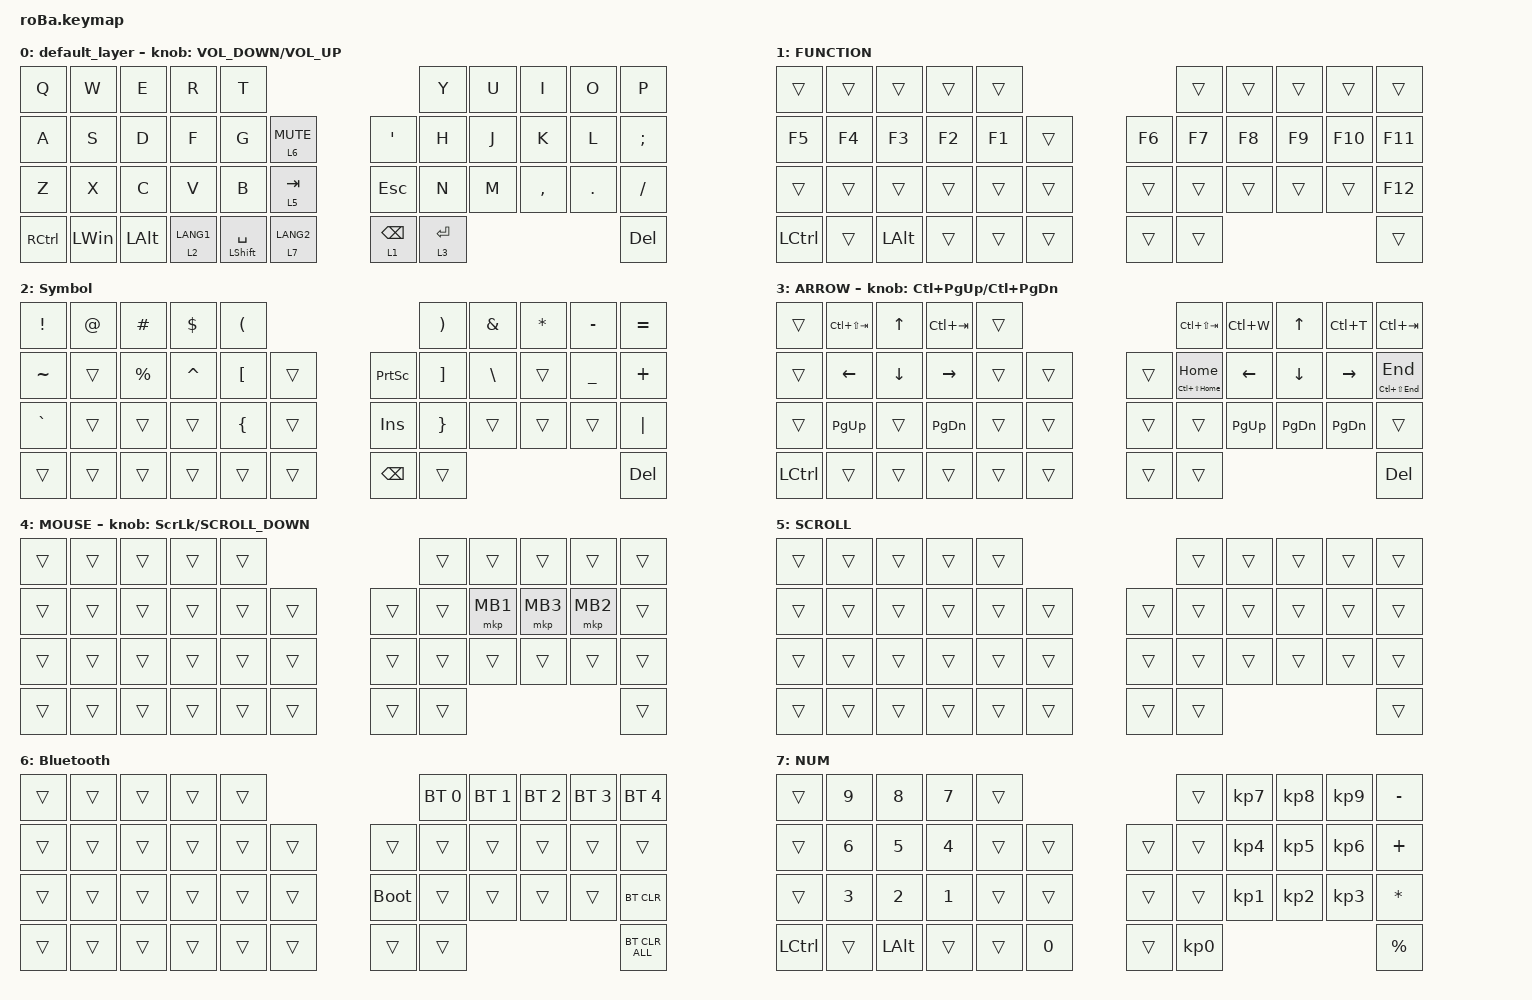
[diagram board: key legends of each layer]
#include <behaviors.dtsi>
#include <dt-bindings/zmk/bt.h>
#include <dt-bindings/zmk/keys.h>
#include <dt-bindings/zmk/pointing.h>

#define MOUSE 4
#define SCROLL 5
#define NUM 6

&mt {
    flavor = "balanced";
    quick-tap-ms = <0>;
};

/ {
    combos {
        compatible = "zmk,combos";

        tab {
            bindings = <&kp TAB>;
            key-positions = <11 12>;
        };

        shift_tab {
            bindings = <&kp LS(TAB)>;
            key-positions = <12 13>;
        };

        muhennkann {
            bindings = <&to_layer_0 INT_MUHENKAN>;
            key-positions = <11 10>;
        };

        double_quotation {
            bindings = <&kp DOUBLE_QUOTES>;
            key-positions = <20 21>;
        };

        eq {
            bindings = <&kp EQUAL>;
            key-positions = <24 25>;
        };
    };

    macros {
        to_layer_0: to_layer_0 {
            compatible = "zmk,behavior-macro-one-param";
            #binding-cells = <1>;
            bindings = <&to 0 &macro_param_1to1 &kp MACRO_PLACEHOLDER>;
            label = "TO_LAYER_0";
        };
    };

    behaviors {
        lt_to_layer_0: lt_to_layer_0 {
            compatible = "zmk,behavior-hold-tap";
            label = "LAYER_TAP_TO_0";
            bindings = <&mo>, <&to_layer_0>;

            #binding-cells = <2>;
            tapping-term-ms = <200>;
        };
    };

    keymap {
        compatible = "zmk,keymap";

        default_layer {
            bindings = <
&kp Q              &kp W         &kp E         &kp R                   &kp T                                                               &kp Y        &kp U  &kp I      &kp O    &kp P
&kp A              &kp S         &kp D         &kp F                   &kp G                 &lt 6 C_MUTE                &kp SINGLE_QUOTE  &kp H        &kp J  &kp K      &kp L    &kp SEMICOLON
&kp Z              &kp X         &kp C         &kp V                   &kp B                 &lt 5 TAB                   &kp ESCAPE        &kp N        &kp M  &kp COMMA  &kp DOT  &kp SLASH
&kp RIGHT_CONTROL  &kp LEFT_WIN  &kp LEFT_ALT  &lt_to_layer_0 2 LANG1  &mt LEFT_SHIFT SPACE  &lt_to_layer_0 7 LANG2      &lt 1 BACKSPACE   &lt 3 ENTER                             &kp DEL
            >;

            sensor-bindings = <&inc_dec_kp C_VOLUME_DOWN C_VOLUME_UP>;
        };

        FUNCTION {
            bindings = <
&trans            &trans  &trans        &trans  &trans                      &trans  &trans  &trans  &trans   &trans
&kp F5            &kp F4  &kp F3        &kp F2  &kp F1  &trans      &kp F6  &kp F7  &kp F8  &kp F9  &kp F10  &kp F11
&trans            &trans  &trans        &trans  &trans  &trans      &trans  &trans  &trans  &trans  &trans   &kp F12
&kp LEFT_CONTROL  &trans  &kp LEFT_ALT  &trans  &trans  &trans      &trans  &trans                           &trans
            >;
        };

        Symbol {
            bindings = <
&kp EXCLAMATION  &kp AT  &kp HASH     &kp DOLLAR  &kp LEFT_PARENTHESIS                               &kp RIGHT_PARENTHESIS  &kp AMPERSAND  &kp ASTERISK  &kp MINUS       &kp EQUAL
&kp TILDE        &trans  &kp PERCENT  &kp CARET   &kp LEFT_BRACKET      &trans      &kp PRINTSCREEN  &kp RIGHT_BRACKET      &kp BSLH       &trans        &kp UNDERSCORE  &kp PLUS
&kp GRAVE        &trans  &trans       &trans      &kp LEFT_BRACE        &trans      &kp INSERT       &kp RIGHT_BRACE        &trans         &trans        &trans          &kp PIPE
&trans           &trans  &trans       &trans      &trans                &trans      &kp BACKSPACE    &trans                                                              &kp DELETE
            >;
        };

        ARROW {
            bindings = <
&trans            &kp LC(LS(TAB))  &kp UP_ARROW    &kp LC(TAB)      &trans                      &kp LC(LS(TAB))        &kp LC(W)       &kp UP_ARROW    &kp LC(T)        &kp LC(TAB)
&trans            &kp LEFT_ARROW   &kp DOWN_ARROW  &kp RIGHT_ARROW  &trans  &trans      &trans  &mt LC(LS(HOME)) HOME  &kp LEFT_ARROW  &kp DOWN_ARROW  &kp RIGHT_ARROW  &mt LC(LS(END)) END
&trans            &kp PAGE_UP      &trans          &kp PAGE_DOWN    &trans  &trans      &trans  &trans                 &kp PAGE_UP     &kp PAGE_DOWN   &kp PAGE_DOWN    &trans
&kp LEFT_CONTROL  &trans           &trans          &trans           &trans  &trans      &trans  &trans                                                                  &kp DELETE
            >;

            sensor-bindings = <&inc_dec_kp LC(PAGE_UP) LC(PAGE_DOWN)>;
        };

        MOUSE {
            bindings = <
&trans  &trans  &trans  &trans  &trans                      &trans  &trans    &trans    &trans    &trans
&trans  &trans  &trans  &trans  &trans  &trans      &trans  &trans  &mkp MB1  &mkp MB3  &mkp MB2  &trans
&trans  &trans  &trans  &trans  &trans  &trans      &trans  &trans  &trans    &trans    &trans    &trans
&trans  &trans  &trans  &trans  &trans  &trans      &trans  &trans                                &trans
            >;

            sensor-bindings = <&inc_dec_kp SCROLLLOCK K_SCROLL_DOWN>;
        };

        SCROLL {
            bindings = <
&trans  &trans  &trans  &trans  &trans                      &trans  &trans  &trans  &trans  &trans
&trans  &trans  &trans  &trans  &trans  &trans      &trans  &trans  &trans  &trans  &trans  &trans
&trans  &trans  &trans  &trans  &trans  &trans      &trans  &trans  &trans  &trans  &trans  &trans
&trans  &trans  &trans  &trans  &trans  &trans      &trans  &trans                          &trans
            >;
        };

        Bluetooth {
            bindings = <
&trans  &trans  &trans  &trans  &trans                           &bt BT_SEL 0  &bt BT_SEL 1  &bt BT_SEL 2  &bt BT_SEL 3  &bt BT_SEL 4
&trans  &trans  &trans  &trans  &trans  &trans      &trans       &trans        &trans        &trans        &trans        &trans
&trans  &trans  &trans  &trans  &trans  &trans      &bootloader  &trans        &trans        &trans        &trans        &bt BT_CLR
&trans  &trans  &trans  &trans  &trans  &trans      &trans       &trans                                                  &bt BT_CLR_ALL
            >;
        };

        NUM {
            bindings = <
&trans            &kp NUMBER_9  &kp NUMBER_8  &kp NUMBER_7  &trans                            &trans           &kp KP_NUMBER_7  &kp KP_NUMBER_8  &kp KP_NUMBER_9  &kp MINUS
&trans            &kp NUMBER_6  &kp NUMBER_5  &kp NUMBER_4  &trans  &trans            &trans  &trans           &kp KP_NUMBER_4  &kp KP_NUMBER_5  &kp KP_NUMBER_6  &kp PLUS
&trans            &kp NUMBER_3  &kp NUMBER_2  &kp NUMBER_1  &trans  &trans            &trans  &trans           &kp KP_NUMBER_1  &kp KP_NUMBER_2  &kp KP_NUMBER_3  &kp ASTRK
&kp LEFT_CONTROL  &trans        &kp LEFT_ALT  &trans        &trans  &kp NUMBER_0      &trans  &kp KP_NUMBER_0                                                     &kp PERCENT
            >;
        };
    };
};
